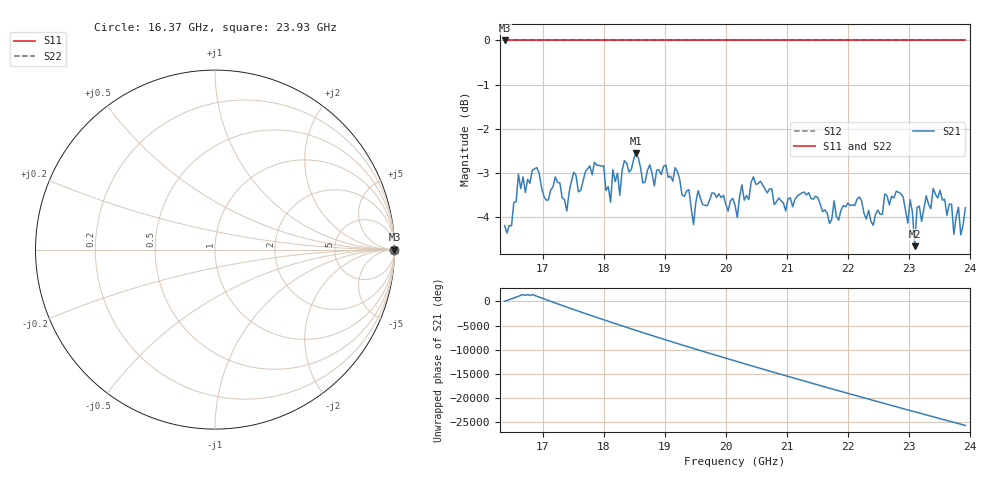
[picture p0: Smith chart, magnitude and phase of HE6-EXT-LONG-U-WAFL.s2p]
!Agilent N9918A: A.07.57
!Date: Thursday, 22 August 2019 15:59:49
!Timezone: (GMT-08:00) Pacific Time (US & Canada)
!Model: N9918A
!Serial: MY53103598
!GPS Latitude:
!GPS Longitude:
!GPS TimeStamp: 0001-01-01 00:00:00Z
!GPS Seconds Since Last Read: 0
!CHECKSUM:0387507572
!Correction: S11()S21(Rdy)S12()S22()
!S2P File: Measurements:S11,S21,S12,S22:
# Hz S DB R 50
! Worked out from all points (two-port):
!   201 points, 16.37 GHz to 23.93 GHz, reference 50 ohm
!   highest |S21| = -2.54 dB at 18.53 GHz (marker M1); lowest = -4.6 dB at 23.1 GHz (marker M2)
!   |S21| within 3 dB of the highest: start of sweep to end of sweep
!   lowest |S11| = 0.0 dB at 16.37 GHz (marker M3)
!   |S11| at or under -10 dB: nowhere
!   |S22| runs from 0.0 to 0.0 dB; largest |S21 - S12| = 1.7
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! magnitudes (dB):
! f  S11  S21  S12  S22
! 16.37 GHz  0.0  -4.2  0.0  0.0
! 16.6 GHz  0.0  -3.0  0.0  0.0
! 17.39 GHz  0.0  -3.9  0.0  0.0
! 17.66 GHz  0.0  -3.2  0.0  0.0
! 18 GHz  0.0  -2.8  0.0  0.0
! 18.11 GHz  0.0  -3.7  0.0  0.0
! 18.15 GHz  0.0  -2.9  0.0  0.0
! 18.26 GHz  0.0  -3.5  0.0  0.0
! 18.53 GHz  0.0  -2.5  0.0  0.0
! 18.9 GHz  0.0  -2.9  0.0  0.0
! 19.47 GHz  0.0  -4.2  0.0  0.0
! 19.55 GHz  0.0  -3.4  0.0  0.0
! 20.19 GHz  0.0  -4.0  0.0  0.0
! 20.45 GHz  0.0  -3.1  0.0  0.0
! 21.44 GHz  0.0  -3.6  0.0  0.0
! 22.68 GHz  0.0  -3.7  0.0  0.0
! 23.02 GHz  0.0  -3.6  0.0  0.0
! 23.1 GHz  0.0  -4.6  0.0  0.0
! 23.14 GHz  0.0  -3.8  0.0  0.0
! 23.4 GHz  0.0  -3.3  0.0  0.0
! 23.74 GHz  0.0  -4.4  0.0  0.0
! 23.93 GHz  0.0  -3.8  0.0  0.0
